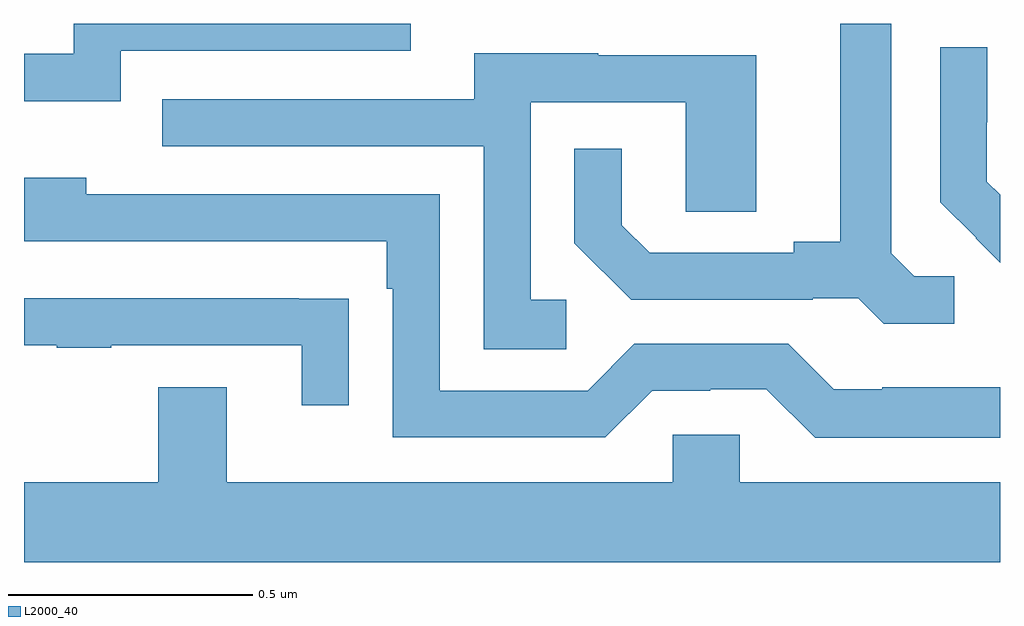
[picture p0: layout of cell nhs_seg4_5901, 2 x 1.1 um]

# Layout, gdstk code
import gdstk
lib = gdstk.Library(unit=1e-6, precision=1e-09)
def P(c, l, *ps):  # polygons
    for p in ps: c.add(gdstk.Polygon(p, *l))
L2000_40 = (2000, 40)

nhs_seg4_5901 = lib.new_cell('nhs_seg4_5901')
P(nhs_seg4_5901, L2000_40, [(183.198,821.844),(183.793,821.844),(183.793,821.9),(183.102,821.9),(183.102,821.838),(183,821.838),(183,821.741),(183.198,821.741)],
  [(184.906,821.382),(184.824,821.382),(184.777,821.429),(184.777,821.9),(184.673,821.9),(184.673,821.453),(184.577,821.453),(184.577,821.43),(184.282,821.43),(184.225,821.487),(184.225,821.644),(184.128,821.644),(184.128,821.45),(184.244,821.334),(184.616,821.334),(184.616,821.337),(184.71,821.337),(184.762,821.285),(184.906,821.285)],
  [(185,821.549),(184.973,821.576),(184.973,821.698),(184.974,821.698),(184.974,821.852),(184.878,821.852),(184.878,821.534),(184.951,821.461),(184.95,821.46),(185,821.41)],
  [(184.111,821.334),(184.038,821.334),(184.038,821.739),(184.356,821.739),(184.356,821.515),(184.501,821.515),(184.501,821.835),(184.177,821.835),(184.177,821.839),(183.923,821.839),(183.923,821.745),(183.283,821.745),(183.283,821.649),(183.942,821.649),(183.942,821.233),(184.111,821.233)],
  [(185,821.155),(184.759,821.155),(184.759,821.151),(184.659,821.151),(184.566,821.244),(184.251,821.244),(184.155,821.148),(183.852,821.148),(183.852,821.55),(183.128,821.55),(183.128,821.584),(183,821.584),(183,821.454),(183.743,821.454),(183.743,821.357),(183.756,821.357),(183.756,821.052),(184.191,821.052),(184.287,821.148),(184.406,821.148),(184.406,821.151),(184.521,821.151),(184.621,821.051),(185,821.051)],
  [(183.665,821.336),(183.563,821.336),(183.563,821.337),(183,821.337),(183,821.241),(183.067,821.241),(183.067,821.236),(183.179,821.236),(183.179,821.241),(183.569,821.241),(183.569,821.118),(183.665,821.118)],
  [(185,820.96),(184.467,820.96),(184.467,821.058),(184.329,821.058),(184.329,820.96),(183.415,820.96),(183.415,821.155),(183.275,821.155),(183.275,820.96),(183,820.96),(183,820.796),(185,820.796)])

lib.write_gds('nhs_seg4_5901.gds')
